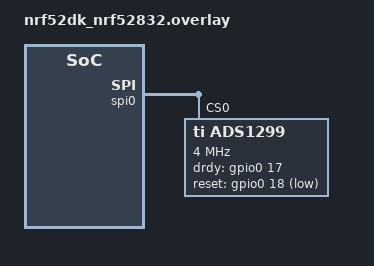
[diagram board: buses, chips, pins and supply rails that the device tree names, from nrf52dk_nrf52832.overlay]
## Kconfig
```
source "Kconfig.zephyr"  

config ADS1299
bool "Enable my function"
default n
```

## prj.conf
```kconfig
CONFIG_SPI=y
CONFIG_GPIO=y
CONFIG_LOG=y
CONFIG_SOC_NRF52832_ALLOW_SPIM_DESPITE_PAN_58=y
CONFIG_LOG_BACKEND_UART=y
CONFIG_UART_CONSOLE=y
CONFIG_ADS1299=y
```

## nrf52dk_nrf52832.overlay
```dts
// To get started, press Ctrl+Space to bring up the completion menu and view the available nodes.

// You can also use the buttons in the sidebar to perform actions on nodes.
// Actions currently available include:

// * Enabling / disabling the node
// * Adding the bus to a bus
// * Removing the node
// * Connecting ADC channels

// For more help, browse the DeviceTree documentation at https://docs.zephyrproject.org/latest/guides/dts/index.html
// You can also visit the nRF DeviceTree extension documentation at https://docs.nordicsemi.com/bundle/nrf-connect-vscode/page/guides/ncs_configure_app.html#devicetree-support-in-the-extension
&spi0 {
    compatible  =  "nordic,nrf-spim";
    status      =   "okay";
    pinctrl-0   =   <&spi0_default>;
    pinctrl-1   =   <&spi0_sleep>;
    pinctrl-names = "default", "sleep";
    ads1299: ads1299@0 {
        compatible = "ti,ads1299";
        reg = <0>;
        full-duplex;
        spi-max-frequency = <4000000>;
        cs-gpios = <&gpio0 16 GPIO_ACTIVE_LOW>;
        drdy-gpios = <&gpio0 17 GPIO_ACTIVE_HIGH>;
        reset-gpios = <&gpio0 18 GPIO_ACTIVE_LOW>;
    };
};

&pinctrl {
    spi0_default_pins: spi0_default{
        group1{
            psels = <NRF_PSEL(SPIM_SCK, 0 , 13)>,
                    <NRF_PSEL(SPIM_MISO, 0, 14)>,
                    <NRF_PSEL(SPIM_MOSI, 0, 15)>;
        };
    };

    spi0_sleep_pins: spi0_sleep{
        group1{
            psels = <NRF_PSEL(SPIM_SCK, 0 ,13)>,
                    <NRF_PSEL(SPIM_MISO, 0, 14)>,
                    <NRF_PSEL(SPIM_MOSI, 0, 15)>;
        };
    };
};

&button0 {
    status = "disabled";
};

&button1 {
    status = "disabled";
};

&button2 {
    status = "disabled";
};

&button3 {
    status = "disabled";
};

&pwm0 {
    status = "disabled";
};

&led0 {
    status = "disabled";
};

&led1 {
    status = "disabled";
};

&i2c0 {
    status = "disabled";
};
```

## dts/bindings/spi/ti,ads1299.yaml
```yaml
description: |
  Texas Instrument ADS1299 8-Channel, 24-Bit, Analog-to-Digital Converter for Biopotential Measurments.

compatible: "ti,ads1299"
include: spi-device.yaml
on-bus: spi

properties:
  drdy-gpios:
    type: phandle-array
    required: true
    description: Data Ready(DRDY) pin for the device

  reset-gpios:
    type: phandle-array
    required: false
    description: Optional reset for the device
```

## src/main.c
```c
#include <zephyr/kernel.h>
#include <zephyr/logging/log.h>
#ifdef CONFIG_ADS1299
#include "ads1299.h"
#endif
LOG_MODULE_REGISTER(main, LOG_LEVEL_INF);

const struct device *const ads_dev = DEVICE_DT_GET(DT_NODELABEL(ads1299));

void main(void){
        LOG_INF("ADS1299 Device test");
        
        if (!device_is_ready(ads_dev)) {
                LOG_ERR("Failed to initialize ADS1299 driver. Halting.");
                return; // Stop execution if initialization fails
        }
        
        k_sleep(K_MSEC(500));

        LOG_INF("Sending reset command");
        ads1299_send_command(ads_dev, _RESET);
        k_sleep(K_MSEC(10));

        LOG_INF("Sending STOP continuous data command");
        ads1299_send_command(ads_dev, _SDATAC);
        k_sleep(K_MSEC(10));

        uint8_t device_id = 0;
        LOG_INF("Reading Device ID Register...");
        int error = ads1299_read_register(ads_dev, ID, &device_id);

        if(error == 0){
                LOG_INF("Read Succesful. Device ID: 0x%02X", device_id);

                if((device_id & 0xE0) == 0xC0){
                        LOG_INF("Valid Device ID ! SPI communication is working!");
                }
                else{
                        LOG_ERR("Invalid Device ID! Check wiring, power, configuration");
                }
        }
        else{
                LOG_ERR("Failed to read Device ID register. Error %d", error);
        }
}
```

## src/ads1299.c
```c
#include "ads1299.h"
#include <zephyr/kernel.h>
#include <zephyr/drivers/spi.h>
#include <zephyr/drivers/gpio.h>
#include <zephyr/logging/log.h>
#include <zephyr/device.h>

#define DT_DRV_COMPAT ti_ads1299
LOG_MODULE_REGISTER(ads1299, LOG_LEVEL_DBG);
struct ads1299_config {
    struct spi_dt_spec bus;
    struct gpio_dt_spec drdy_gpio;
    struct gpio_dt_spec reset_gpio;
};

int ads1299_send_command(const struct device *dev, uint8_t command) {
    const struct ads1299_config *config = dev->config;
    const struct spi_buf tx_buf ={.buf = &command, .len = 1};
    const struct spi_buf_set tx_set = {.buffers = &tx_buf, .count = 1};

    return spi_write_dt(&config->bus, &tx_set);
}

int ads1299_write_register(const struct device *dev, uint8_t address, uint8_t value) {
    const struct ads1299_config *config = dev->config;
    uint8_t command_buf[2];

    command_buf[0] = 0x40 | address;
    command_buf[1] = 0x00;
    
    struct spi_buf bufs[2] = {
        {.buf = command_buf, .len = 2},
        {.buf = &value, .len = 1}
    };

    const struct spi_buf_set tx_set = {
        .buffers = bufs,
        .count = 2
    };

    return spi_write_dt(&config->bus, &tx_set);

}

int ads1299_read_register(const struct device *dev, uint8_t address, uint8_t *value){
    const struct ads1299_config *config = dev->config;
    uint8_t command_buf[2];

    command_buf[0] = 0x20 | address;
    command_buf[1] = 0x00;

    const struct spi_buf tx_buf = {
        .buf = command_buf,
        .len = 2
    };

    const struct spi_buf_set tx_set = {
        .buffers = &tx_buf,
        .count = 1
    };

    const struct spi_buf rx_buf = {
        .buf = value,
        .len = 1
    };

    const struct spi_buf_set rx_set = {
        .buffers = &rx_buf,
        .count = 1
    };

    return spi_transceive_dt(&config->bus, &tx_set, &rx_set);

}

int ads1299_init_driver(const struct device *dev){
    const struct ads1299_config *config = dev->config;
    int err;

    if(!spi_is_ready_dt(&config->bus)) {
        LOG_ERR("SPI Bus is not ready");
        return -ENODEV;
    }
    if(!gpio_is_ready_dt(&config->reset_gpio)){
        LOG_ERR("SPI reset is not ready");
        return -ENODEV;
    }

    err = gpio_pin_configure_dt(&config->reset_gpio, GPIO_OUTPUT);
    if(err){
        return err;
    }

    gpio_pin_set_dt(&config->reset_gpio, 0); 
    k_msleep(10);                             
    gpio_pin_set_dt(&config->reset_gpio, 1); 
    k_msleep(10);

    err = ads1299_send_command(dev, _SDATAC);
    if(err){
        LOG_ERR("Failed to send SDATAC command");
        return err;
    }

    LOG_INF("ADS1299 setup succesffully");
    return 0;
}

static const struct ads1299_config ads1299_config_0 = {
    .bus = SPI_DT_SPEC_INST_GET(0,(SPI_OP_MODE_MASTER|SPI_WORD_SET(8)|SPI_MODE_CPHA),0),
    .drdy_gpio = GPIO_DT_SPEC_INST_GET(0,drdy_gpios),
    .reset_gpio = GPIO_DT_SPEC_INST_GET(0, reset_gpios)
};

struct ads1299_data {};
static struct ads1299_data ads1299_data_0;


DEVICE_DT_INST_DEFINE(0,
&ads1299_init_driver,
NULL,
&ads1299_data_0,
&ads1299_config_0,
POST_KERNEL,
90,
NULL
);
```

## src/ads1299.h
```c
//
//  ADS1299.h
//  Part of the Arduino Library
//  Created by Conor Russomanno, Luke Travis, and Joel Murphy. Summer 2013.
//
//  Modified by Chip Audette through April 2014
//

#ifndef ADS1299_H
#define ADS1299_H

#include <zephyr/device.h>
#include <stdint.h>

//Register and command defintions; these values come from ads1299 datasheet(gemini also said they are universal)

//SPI command definitions
#define _WAKEUP     0x02 //wakeup from standby mode
#define _STANDBY    0x04 //Enter standby mode
#define _RESET      0x06 //reset the device
#define _START      0x08 //Start/restart (synchronise) conversions
#define _STOP       0x0A //stop conversion
#define _RDATAC     0x10 //Enable Read Data Continuous mode
#define _SDATAC     0x11 //Stop Read Data Continuous mode
#define _RDATA      0x12 //Read data by command

//Register Address
#define ID          0x00
#define ADS_CONFIG1 0x01
#define ADS_CONFIG2 0x02
#define ADS_CONFIG3 0x03
#define LOFF        0x04
#define CH1SET      0x05
#define CH2SET      0x06
#define CH3SET      0x07
#define CH4SET      0x08
#define CH5SET      0x09
#define CH6SET      0x0A
#define CH7SET      0x0B
#define CH8SET      0x0C
#define BIAS_SENSP  0x0D
#define BIAS_SENSN  0x0E
#define LOFF_SENSP  0x0F
#define LOFF_SENSN  0x10
#define LOFF_FLIP   0x11
#define LOFF_STATP  0x12
#define LOFF_STATN  0x13
#define GPIO        0x14
#define MISC1       0x15
#define MISC2       0x16
#define CONFIG4     0x17 

//Public function properties; Public API for ads1299 driver; these functions will be called in main c to talk to ads

/*Send a one byte command to the ads1299
    parameter:
    *dev-> pointer to the ads1299 device structure
    command -> the command byte to send from the above list
*/
int ads1299_send_command(const struct device *dev, uint8_t command);

/*Reads a single register from the ads1299
    parameter:
    *dev -> pointer to the ads1299 device structure
    address -> address of the register from list above
    value -> pointer to a variable where the value will be stored
*/
int ads1299_read_register(const struct device *dev, uint8_t address, uint8_t *value);

/*write a single value to a register in the ads1299
    parameter:
    *dev -> pointer to the ads1299 device structure
    address -> address of the register from the list above
    value -> the value to write to the register
*/
int ads1299_write_register(const struct device *dev, uint8_t address, uint8_t value);


#endif
```
